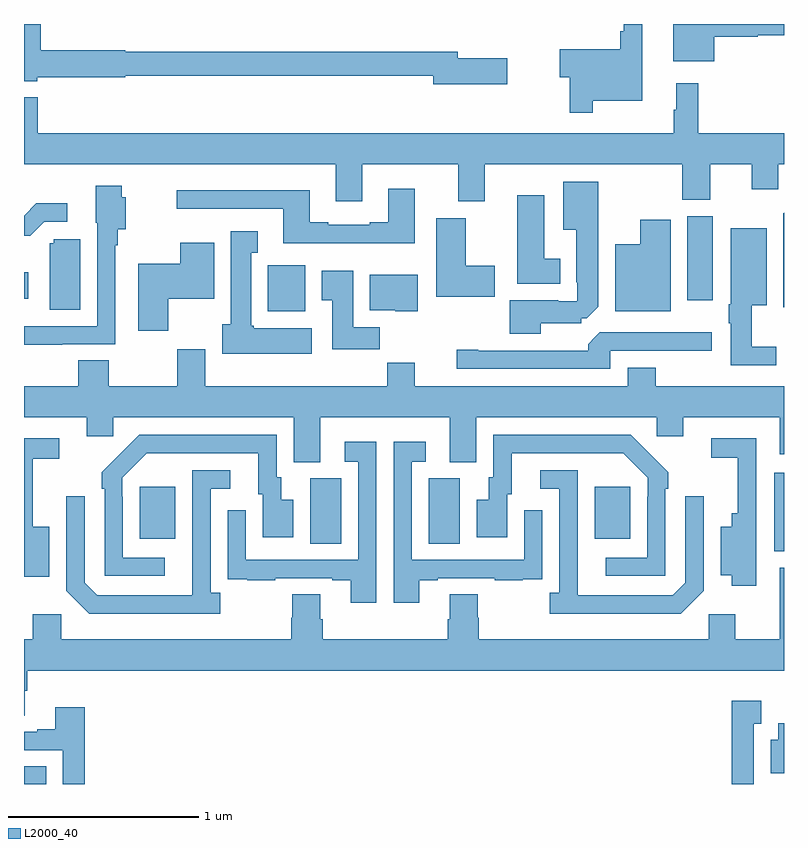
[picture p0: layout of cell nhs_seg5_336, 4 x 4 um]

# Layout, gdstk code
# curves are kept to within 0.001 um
import gdstk
lib = gdstk.Library(unit=1e-6, precision=1e-09)
def R(c, l, rs):  # rectangles x0, y0, x1, y1
    for r in rs: c.add(gdstk.rectangle(r[:2], r[2:], *l))
def P(c, l, *ps):  # polygons
    for p in ps: c.add(gdstk.Polygon(p, *l))
L2000_40 = (2000, 40)

nhs_seg5_336 = lib.new_cell('nhs_seg5_336')
R(nhs_seg5_336, L2000_40, [(131,886.799,131.116,886.892), (134.948,888.023,135,888.436), (132.506,888.064,132.67,888.408), (133.13,888.064,133.294,888.408), (131.609,888.089,131.797,888.364), (134.003,888.089,134.191,888.364), (132.284,889.286,132.481,889.528), (134.492,889.344,134.626,889.788), (131,889.352,131.023,889.492)])
P(nhs_seg5_336, L2000_40, [(133.993,890.396),(134.254,890.396),(134.254,890.799),(134.157,890.799),(134.157,890.761),(134.137,890.761),(134.137,890.665),(133.82,890.665),(133.82,890.518),(133.872,890.518),(133.872,890.331),(133.993,890.331)],
  [(133.543,890.618),(133.282,890.618),(133.282,890.654),(131.532,890.654),(131.532,890.66),(131.087,890.66),(131.087,890.799),(131,890.799),(131,890.498),(131.07,890.498),(131.07,890.518),(131.532,890.518),(131.532,890.526),(133.154,890.526),(133.154,890.483),(133.543,890.483)],
  [(134.632,890.732),(134.862,890.732),(134.862,890.74),(135,890.74),(135,890.799),(134.417,890.799),(134.417,890.603),(134.632,890.603)],
  [(132.781,890.06),(133.286,890.06),(133.286,889.866),(133.426,889.866),(133.426,890.06),(134.464,890.06),(134.464,889.873),(134.611,889.873),(134.611,890.06),(134.831,890.06),(134.831,889.929),(134.97,889.929),(134.97,890.06),(135,890.06),(135,890.224),(134.549,890.224),(134.549,890.488),(134.432,890.488),(134.432,890.348),(134.421,890.348),(134.421,890.224),(131.072,890.224),(131.072,890.413),(131,890.413),(131,890.06),(132.641,890.06),(132.641,889.866),(132.781,889.866)],
  [(133.72,889.223),(133.932,889.223),(133.932,889.251),(133.963,889.251),(134.023,889.311),(134.023,889.969),(133.838,889.969),(133.838,889.715),(133.907,889.715),(133.907,889.441),(133.911,889.441),(133.911,889.341),(133.811,889.341),(133.811,889.345),(133.556,889.345),(133.556,889.169),(133.72,889.169)],
  [(131.201,889.113),(131.481,889.113),(131.481,889.634),(131.494,889.634),(131.494,889.718),(131.536,889.718),(131.536,889.888),(131.514,889.888),(131.514,889.948),(131.378,889.948),(131.378,889.752),(131.385,889.752),(131.385,889.209),(131,889.209),(131,889.111),(131.201,889.111)],
  [(133.057,889.933),(132.917,889.933),(132.917,889.756),(132.821,889.756),(132.821,889.743),(132.601,889.743),(132.601,889.756),(132.505,889.756),(132.505,889.924),(131.805,889.924),(131.805,889.827),(132.365,889.827),(132.365,889.646),(133.057,889.646)],
  [(133.822,889.564),(133.738,889.564),(133.738,889.897),(133.595,889.897),(133.595,889.433),(133.822,889.433)],
  [(131.106,889.758),(131.227,889.758),(131.227,889.855),(131.065,889.855),(131,889.79),(131,889.685),(131.033,889.685)],
  [(135,889.806),(134.997,889.803),(134.997,889.308),(135,889.308)],
  [(133.477,889.527),(133.324,889.527),(133.324,889.777),(133.169,889.777),(133.169,889.364),(133.477,889.364)],
  [(134.404,889.768),(134.243,889.768),(134.243,889.639),(134.111,889.639),(134.111,889.286),(134.404,889.286)],
  [(134.959,889.101),(134.83,889.101),(134.83,889.319),(134.908,889.319),(134.908,889.723),(134.72,889.723),(134.72,889.323),(134.709,889.323),(134.709,889.223),(134.721,889.223),(134.721,889.002),(134.959,889.002)],
  [(132.514,889.198),(132.21,889.198),(132.21,889.212),(132.196,889.212),(132.196,889.595),(132.229,889.595),(132.229,889.708),(132.089,889.708),(132.089,889.218),(132.044,889.218),(132.044,889.064),(132.514,889.064)],
  [(131.296,889.665),(131.157,889.665),(131.157,889.644),(131.135,889.644),(131.135,889.296),(131.296,889.296)],
  [(131.758,889.352),(132.001,889.352),(132.001,889.648),(131.822,889.648),(131.822,889.537),(131.6,889.537),(131.6,889.185),(131.758,889.185)],
  [(132.872,889.204),(132.733,889.204),(132.733,889.501),(132.566,889.501),(132.566,889.345),(132.623,889.345),(132.623,889.086),(132.872,889.086)],
  [(133.072,889.48),(132.821,889.48),(132.821,889.292),(132.954,889.292),(132.954,889.286),(133.072,889.286)],
  [(134.085,889.08),(134.62,889.08),(134.62,889.176),(134.031,889.176),(134.005,889.15),(133.97,889.114),(133.97,889.08),(133.39,889.08),(133.39,889.085),(133.278,889.085),(133.278,888.984),(134.085,888.984)],
  [(132.559,888.728),(133.241,888.728),(133.241,888.493),(133.381,888.493),(133.381,888.728),(134.331,888.728),(134.331,888.63),(134.47,888.63),(134.47,888.728),(134.978,888.728),(134.978,888.534),(135,888.534),(135,888.892),(134.325,888.892),(134.325,888.991),(134.177,888.991),(134.177,888.892),(133.057,888.892),(133.057,889.016),(132.913,889.016),(132.913,888.892),(131.953,888.892),(131.953,889.087),(131.806,889.087),(131.806,888.892),(131.445,888.892),(131.445,889.028),(131.285,889.028),(131.285,888.892),(131,888.892),(131,888.728),(131.33,888.728),(131.33,888.63),(131.469,888.63),(131.469,888.728),(132.419,888.728),(132.419,888.493),(132.559,888.493)],
  [(131.74,887.991),(131.52,887.991),(131.52,888.311),(131.517,888.311),(131.517,888.411),(131.646,888.54),(132.233,888.54),(132.233,888.324),(132.257,888.324),(132.257,888.099),(132.418,888.099),(132.418,888.295),(132.355,888.295),(132.355,888.414),(132.33,888.414),(132.33,888.636),(131.606,888.636),(131.409,888.441),(131.409,888.353),(131.424,888.353),(131.424,887.895),(131.74,887.895)],
  [(134.376,888.353),(134.391,888.353),(134.391,888.441),(134.194,888.636),(133.47,888.636),(133.47,888.414),(133.445,888.414),(133.445,888.295),(133.382,888.295),(133.382,888.099),(133.543,888.099),(133.543,888.324),(133.567,888.324),(133.567,888.54),(134.155,888.54),(134.283,888.411),(134.283,888.311),(134.28,888.311),(134.28,887.991),(134.061,887.991),(134.061,887.895),(134.376,887.895)],
  [(131.134,888.154),(131.045,888.154),(131.045,888.51),(131.185,888.51),(131.185,888.618),(131,888.618),(131,887.89),(131.134,887.89)],
  [(134.854,888.119),(134.853,888.119),(134.853,888.618),(134.616,888.618),(134.616,888.517),(134.756,888.517),(134.756,888.223),(134.726,888.223),(134.726,888.154),(134.666,888.154),(134.666,887.897),(134.726,887.897),(134.726,887.843),(134.854,887.843)],
  [(133.081,887.871),(133.177,887.871),(133.177,887.883),(133.477,887.883),(133.477,887.871),(133.625,887.871),(133.625,887.877),(133.727,887.877),(133.727,887.986),(133.728,887.986),(133.728,888.241),(133.632,888.241),(133.632,887.979),(133.041,887.979),(133.041,888.495),(133.114,888.495),(133.114,888.601),(132.945,888.601),(132.945,887.754),(133.081,887.754)],
  [(132.855,888.601),(132.687,888.601),(132.687,888.495),(132.759,888.495),(132.759,887.979),(132.168,887.979),(132.168,888.241),(132.072,888.241),(132.072,887.986),(132.073,887.986),(132.073,887.877),(132.175,887.877),(132.175,887.871),(132.323,887.871),(132.323,887.883),(132.623,887.883),(132.623,887.871),(132.719,887.871),(132.719,887.754),(132.855,887.754)],
  [(134.577,887.817),(134.577,888.313),(134.481,888.313),(134.481,887.859),(134.415,887.793),(133.915,887.793),(133.914,888.45),(133.716,888.45),(133.716,888.354),(133.818,888.354),(133.818,887.806),(133.767,887.806),(133.767,887.696),(134.456,887.696)],
  [(132.034,887.806),(131.982,887.806),(131.982,888.354),(132.085,888.354),(132.085,888.45),(131.886,888.45),(131.885,887.793),(131.385,887.793),(131.319,887.859),(131.319,888.313),(131.223,888.313),(131.223,887.817),(131.344,887.696),(132.034,887.696)],
  [(131,887.158),(131.005,887.158),(131.005,887.29),(131.018,887.29),(131.018,887.396),(135,887.396),(135,887.938),(134.978,887.938),(134.978,887.56),(134.743,887.56),(134.743,887.692),(134.604,887.692),(134.604,887.56),(133.394,887.56),(133.394,887.673),(133.389,887.673),(133.389,887.798),(133.241,887.798),(133.241,887.666),(133.229,887.666),(133.229,887.56),(132.572,887.56),(132.572,887.666),(132.559,887.666),(132.559,887.798),(132.412,887.798),(132.412,887.673),(132.407,887.673),(132.407,887.56),(131.196,887.56),(131.196,887.692),(131.045,887.692),(131.045,887.56),(131,887.56)],
  [(134.842,887.115),(134.881,887.115),(134.881,887.236),(134.724,887.236),(134.724,886.799),(134.842,886.799)],
  [(131.321,887.203),(131.165,887.203),(131.165,887.086),(131.069,887.086),(131.069,887.073),(131,887.073),(131,886.977),(131.205,886.977),(131.205,886.799),(131.321,886.799)],
  [(135,887.119),(134.969,887.119),(134.969,887.032),(134.93,887.032),(134.93,886.856),(135,886.856)])

lib.write_gds('nhs_seg5_336.gds')
